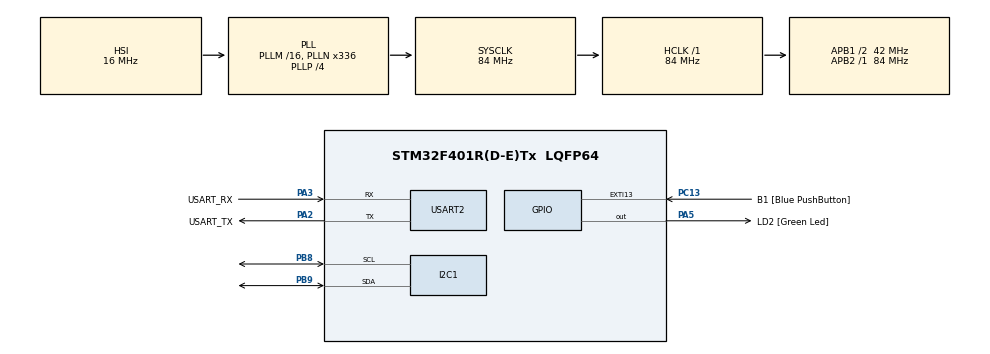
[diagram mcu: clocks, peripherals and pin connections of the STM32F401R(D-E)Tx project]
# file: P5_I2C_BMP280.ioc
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Mcu.Family=STM32F4
Mcu.Name=STM32F401R(D-E)Tx
Mcu.Package=LQFP64
NVIC.PriorityGroup=NVIC_PRIORITYGROUP_4
PA13.GPIO_Label=TMS
PA13.Mode=Trace_Asynchronous_SW
PA13.Signal=SYS_JTMS-SWDIO
PA14.GPIO_Label=TCK
PA14.Mode=Trace_Asynchronous_SW
PA14.Signal=SYS_JTCK-SWCLK
PA2.GPIO_Label=USART_TX
PA2.GPIO_Mode=GPIO_MODE_AF_PP
PA2.GPIO_PuPd=GPIO_NOPULL
PA2.GPIO_Speed=GPIO_SPEED_FREQ_LOW
PA2.Mode=Asynchronous
PA2.Signal=USART2_TX
PA3.GPIO_Label=USART_RX
PA3.GPIO_Mode=GPIO_MODE_AF_PP
PA3.GPIO_PuPd=GPIO_NOPULL
PA3.GPIO_Speed=GPIO_SPEED_FREQ_LOW
PA3.Mode=Asynchronous
PA3.Signal=USART2_RX
PA5.GPIO_Label=LD2 [Green Led]
PA5.GPIO_Mode=GPIO_MODE_OUTPUT_PP
PA5.GPIO_PuPd=GPIO_NOPULL
PA5.GPIO_Speed=GPIO_SPEED_FREQ_LOW
PA5.Signal=GPIO_Output
PB3.GPIO_Label=SWO
PB3.Mode=Trace_Asynchronous_SW
PB3.Signal=SYS_JTDO-SWO
PB8.Mode=I2C
PB8.Signal=I2C1_SCL
PB9.Mode=I2C
PB9.Signal=I2C1_SDA
PC13-ANTI_TAMP.GPIO_Label=B1 [Blue PushButton]
PC13-ANTI_TAMP.GPIO_ModeDefaultEXTI=GPIO_MODE_IT_FALLING
PC13-ANTI_TAMP.GPIO_PuPd=GPIO_NOPULL
PC13-ANTI_TAMP.Signal=GPXTI13
PC14-OSC32_IN.Mode=LSE-External-Oscillator
PC14-OSC32_IN.Signal=RCC_OSC32_IN
PC15-OSC32_OUT.Mode=LSE-External-Oscillator
PC15-OSC32_OUT.Signal=RCC_OSC32_OUT
PH0\ -\ OSC_IN.Mode=HSE-External-Clock-Source
PH0\ -\ OSC_IN.Signal=RCC_OSC_IN
PH1\ -\ OSC_OUT.Mode=HSE-External-Clock-Source
PH1\ -\ OSC_OUT.Signal=RCC_OSC_OUT
ProjectManager.HeapSize=0x200
ProjectManager.StackSize=0x400
ProjectManager.TargetToolchain=STM32CubeIDE
RCC.48MHZClocksFreq_Value=48000000
RCC.AHBFreq_Value=84000000
RCC.APB1CLKDivider=RCC_HCLK_DIV2
RCC.APB1Freq_Value=42000000
RCC.APB1TimFreq_Value=84000000
RCC.APB2Freq_Value=84000000
RCC.APB2TimFreq_Value=84000000
RCC.CortexFreq_Value=84000000
RCC.HCLKFreq_Value=84000000
RCC.HSE_VALUE=8000000
RCC.HSI_VALUE=16000000
RCC.PLLN=336
RCC.PLLP=RCC_PLLP_DIV4
RCC.PLLQ=7
RCC.SYSCLKFreq_VALUE=84000000
RCC.SYSCLKSource=RCC_SYSCLKSOURCE_PLLCLK
RCC.VCOOutputFreq_Value=336000000
USART2.VirtualMode=VM_ASYNC
board=NUCLEO-F401RE

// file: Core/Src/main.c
/* USER CODE BEGIN Header */
/**
  ******************************************************************************
  * @file           : main.c
  * @brief          : Main program body
  ******************************************************************************
  * @attention
  *
  * Copyright (c) 2025 STMicroelectronics.
  * All rights reserved.
  *
  * This software is licensed under terms that can be found in the LICENSE file
  * in the root directory of this software component.
  * If no LICENSE file comes with this software, it is provided AS-IS.
  *
  ******************************************************************************
  */
/* USER CODE END Header */
#include "main.h"
#include "i2c.h"
#include "usart.h"
#include "gpio.h"

/* USER CODE BEGIN Includes */
#include "bmp280_min.h"
#include "i2c.h"
#include <stdio.h>
/* USER CODE END Includes */

/* USER CODE BEGIN PTD */
extern I2C_HandleTypeDef hi2c1;
/* USER CODE END PTD */

void SystemClock_Config(void);

int main(void)
{

  /* USER CODE BEGIN 1 */
	uint8_t addr7=0, who=0;
	if (!BMP280_Probe(&hi2c1, &addr7, &who)) {
	    printf("BMP280 not found\r\n");
	} else {
	    printf("Found device at 0x%02X, WHOAMI=0x%02X\r\n", addr7, who);
	    if (BMP280_StartNormal(&hi2c1, addr7) == HAL_OK) {
	        HAL_Delay(50);
	    }
	}
  /* USER CODE END 1 */

  /* MCU Configuration--------------------------------------------------------*/

  /* Reset of all peripherals, Initializes the Flash interface and the Systick. */
  HAL_Init();

  /* Configure the system clock */
  SystemClock_Config();

  /* Initialize all configured peripherals */
  MX_GPIO_Init();
  MX_USART2_UART_Init();
  MX_I2C1_Init();

  /* Infinite loop */
  /* USER CODE BEGIN WHILE */
  while (1)
  {
	  uint32_t rp, rt;
	  if (BMP280_ReadRaw(&hi2c1, addr7, &rp, &rt) == HAL_OK)
	  {
		  printf("RAW: press=%lu temp=%lu\r\n", rp, rt);
	  } else {
		  printf("I2C read error\r\n");
	  }
	  HAL_Delay(500);
    /* USER CODE END WHILE */

  }
}

void SystemClock_Config(void)
{
  RCC_OscInitTypeDef RCC_OscInitStruct = {0};
  RCC_ClkInitTypeDef RCC_ClkInitStruct = {0};

  /** Configure the main internal regulator output voltage
  */
  __HAL_RCC_PWR_CLK_ENABLE();
  __HAL_PWR_VOLTAGESCALING_CONFIG(PWR_REGULATOR_VOLTAGE_SCALE2);

  /** Initializes the RCC Oscillators according to the specified parameters
  * in the RCC_OscInitTypeDef structure.
  */
  RCC_OscInitStruct.OscillatorType = RCC_OSCILLATORTYPE_HSI;
  RCC_OscInitStruct.HSIState = RCC_HSI_ON;
  RCC_OscInitStruct.HSICalibrationValue = RCC_HSICALIBRATION_DEFAULT;
  RCC_OscInitStruct.PLL.PLLState = RCC_PLL_ON;
  RCC_OscInitStruct.PLL.PLLSource = RCC_PLLSOURCE_HSI;
  RCC_OscInitStruct.PLL.PLLM = 16;
  RCC_OscInitStruct.PLL.PLLN = 336;
  RCC_OscInitStruct.PLL.PLLP = RCC_PLLP_DIV4;
  RCC_OscInitStruct.PLL.PLLQ = 7;
  if (HAL_RCC_OscConfig(&RCC_OscInitStruct) != HAL_OK)
  {
    Error_Handler();
  }

  /** Initializes the CPU, AHB and APB buses clocks
  */
  RCC_ClkInitStruct.ClockType = RCC_CLOCKTYPE_HCLK|RCC_CLOCKTYPE_SYSCLK
                              |RCC_CLOCKTYPE_PCLK1|RCC_CLOCKTYPE_PCLK2;
  RCC_ClkInitStruct.SYSCLKSource = RCC_SYSCLKSOURCE_PLLCLK;
  RCC_ClkInitStruct.AHBCLKDivider = RCC_SYSCLK_DIV1;
  RCC_ClkInitStruct.APB1CLKDivider = RCC_HCLK_DIV2;
  RCC_ClkInitStruct.APB2CLKDivider = RCC_HCLK_DIV1;

  if (HAL_RCC_ClockConfig(&RCC_ClkInitStruct, FLASH_LATENCY_2) != HAL_OK)
  {
    Error_Handler();
  }
}

void Error_Handler(void)
{
  __disable_irq();
  while (1)
  {
  }
}
